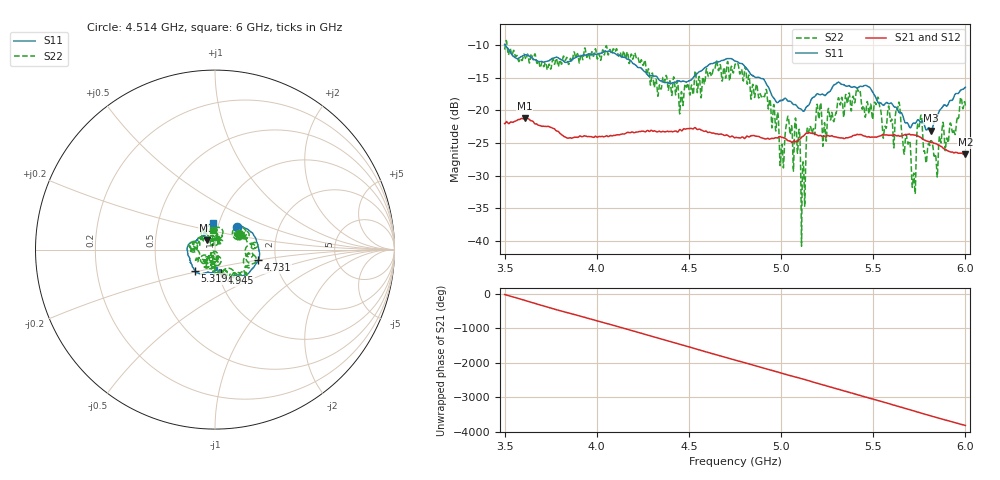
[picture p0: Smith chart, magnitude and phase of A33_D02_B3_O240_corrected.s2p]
! Created with skrf 1.9.0 (http://scikit-rf.org).
# Hz S RI R 50.0
!freq ReS11 ImS11 ReS21 ImS21 ReS12 ImS12 ReS22 ImS22
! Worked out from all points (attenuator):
!   1601 points, 3.5 GHz to 6 GHz, reference 50 ohm
!   highest |S21| = -21.21 dB at 3.609 GHz (marker M1); lowest = -26.7 dB at 6 GHz (marker M2)
!   lowest |S11| = -23.1 dB at 5.814 GHz (marker M3), VSWR 1.15, Z = 45.3 + j4.72 ohm
!   |S11| at or under -10 dB: 3.504 GHz to end of sweep
!   |S22| runs from -40.8 to -9.3 dB; largest |S21 - S12| = 0.001
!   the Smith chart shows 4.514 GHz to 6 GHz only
!   S11 on the Smith chart (normalised r, x): 4.514 GHz: 1.23, +0.31; 4.731 GHz: 1.62, -0.21; 4.945 GHz: 1.03, -0.28; 5.319 GHz: 0.78, -0.19; 6 GHz: 0.94, +0.29
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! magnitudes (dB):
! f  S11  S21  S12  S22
! 3.5 GHz  -9.9  -22.0  -22.0  -10.6
! 3.609 GHz  -11.5  -21.2  -21.2  -11.6
! 3.917 GHz  -11.6  -24.0  -24.0  -11.3
! 4.213 GHz  -13.1  -23.3  -23.3  -11.8
! 4.334 GHz  -15.2  -23.2  -23.2  -17.3
! 4.514 GHz  -15.3  -22.8  -22.7  -16.1
! 4.731 GHz  -12.1  -24.0  -23.9  -13.2
! 4.75 GHz  -12.4  -24.2  -24.1  -13.0
! 4.945 GHz  -17.4  -24.3  -24.3  -20.0
! 5.005 GHz  -18.4  -24.1  -24.1  -25.1
! 5.033 GHz  -18.4  -24.6  -24.5  -21.4
! 5.088 GHz  -19.4  -24.7  -24.7  -26.2
! 5.119 GHz  -20.1  -24.0  -23.9  -27.9
! 5.167 GHz  -18.1  -23.5  -23.5  -23.5
! 5.319 GHz  -15.8  -24.2  -24.2  -19.0
! 5.584 GHz  -19.0  -23.8  -23.8  -19.3
! 5.638 GHz  -20.2  -23.9  -23.8  -18.9
! 5.719 GHz  -21.9  -23.8  -23.7  -29.7
! 5.752 GHz  -21.7  -24.1  -24.0  -22.0
! 5.814 GHz  -23.1  -24.9  -24.8  -24.6
! 5.841 GHz  -21.2  -25.1  -25.1  -27.3
! 6 GHz  -16.4  -26.7  -26.7  -19.3
